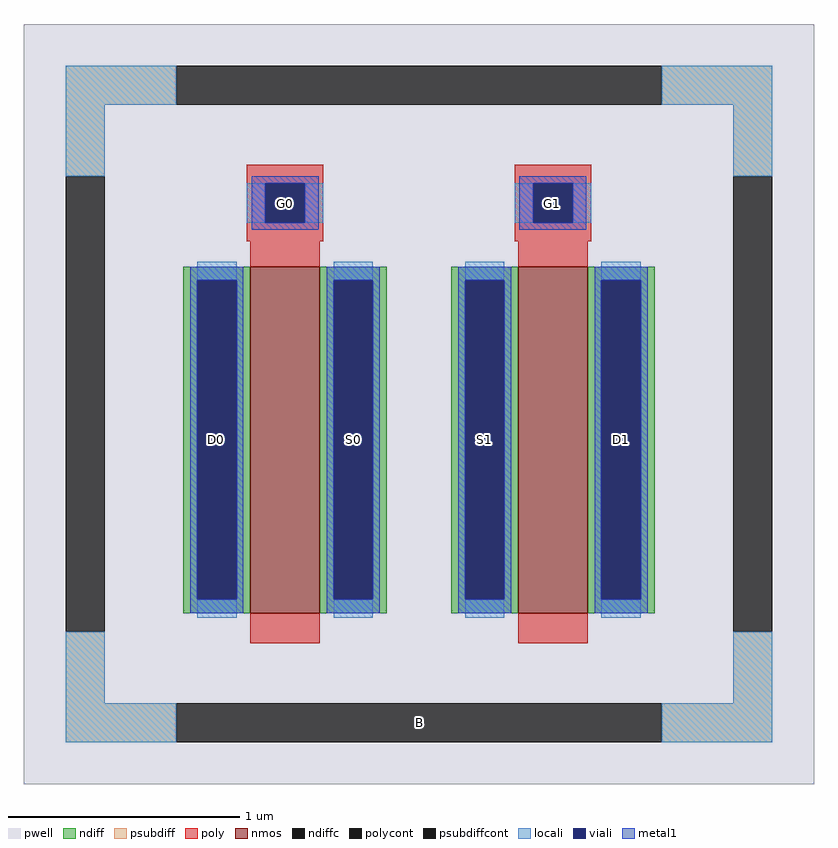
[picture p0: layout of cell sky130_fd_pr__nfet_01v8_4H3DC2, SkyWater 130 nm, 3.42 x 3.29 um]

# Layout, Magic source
magic
tech sky130A
magscale 1 2
<< pwell >>
rect -342 -329 342 329
<< nmos >>
rect -146 -181 -86 119
rect 86 -181 146 119
<< ndiff >>
rect -204 107 -146 119
rect -204 -169 -192 107
rect -158 -169 -146 107
rect -204 -181 -146 -169
rect -86 107 -28 119
rect -86 -169 -74 107
rect -40 -169 -28 107
rect -86 -181 -28 -169
rect 28 107 86 119
rect 28 -169 40 107
rect 74 -169 86 107
rect 28 -181 86 -169
rect 146 107 204 119
rect 146 -169 158 107
rect 192 -169 204 107
rect 146 -181 204 -169
<< ndiffc >>
rect -192 -169 -158 107
rect -74 -169 -40 107
rect 40 -169 74 107
rect 158 -169 192 107
<< psubdiff >>
rect -306 259 -210 293
rect 210 259 306 293
rect -306 197 -272 259
rect 272 197 306 259
rect -306 -259 -272 -197
rect 272 -259 306 -197
rect -306 -293 -210 -259
rect 210 -293 306 -259
<< psubdiffcont >>
rect -210 259 210 293
rect -306 -197 -272 197
rect 272 -197 306 197
rect -210 -293 210 -259
<< poly >>
rect -149 191 -83 207
rect -149 157 -133 191
rect -99 157 -83 191
rect -149 141 -83 157
rect 83 191 149 207
rect 83 157 99 191
rect 133 157 149 191
rect 83 141 149 157
rect -146 119 -86 141
rect 86 119 146 141
rect -146 -207 -86 -181
rect 86 -207 146 -181
<< polycont >>
rect -133 157 -99 191
rect 99 157 133 191
<< locali >>
rect -306 259 -210 293
rect 210 259 306 293
rect -306 197 -272 259
rect 272 197 306 259
rect -149 157 -133 191
rect -99 157 -83 191
rect 83 157 99 191
rect 133 157 149 191
rect -192 107 -158 123
rect -192 -185 -158 -169
rect -74 107 -40 123
rect -74 -185 -40 -169
rect 40 107 74 123
rect 40 -185 74 -169
rect 158 107 192 123
rect 158 -185 192 -169
rect -306 -259 -272 -197
rect 272 -259 306 -197
rect -306 -293 -210 -259
rect 210 -293 306 -259
<< viali >>
rect -133 157 -99 191
rect 99 157 133 191
rect -192 -169 -158 107
rect -74 -169 -40 107
rect 40 -169 74 107
rect 158 -169 192 107
<< metal1 >>
rect -145 191 -87 197
rect -145 157 -133 191
rect -99 157 -87 191
rect -145 151 -87 157
rect 87 191 145 197
rect 87 157 99 191
rect 133 157 145 191
rect 87 151 145 157
rect -198 107 -152 119
rect -198 -169 -192 107
rect -158 -169 -152 107
rect -198 -181 -152 -169
rect -80 107 -34 119
rect -80 -169 -74 107
rect -40 -169 -34 107
rect -80 -181 -34 -169
rect 34 107 80 119
rect 34 -169 40 107
rect 74 -169 80 107
rect 34 -181 80 -169
rect 152 107 198 119
rect 152 -169 158 107
rect 192 -169 198 107
rect 152 -181 198 -169
<< labels >>
rlabel psubdiffcont 0 -276 0 -276 0 B
port 1 nsew
rlabel ndiffc -175 -31 -175 -31 0 D0
port 2 nsew
rlabel ndiffc -57 -31 -57 -31 0 S0
port 3 nsew
rlabel polycont -116 174 -116 174 0 G0
port 4 nsew
rlabel ndiffc 175 -31 175 -31 0 D1
port 5 nsew
rlabel ndiffc 57 -31 57 -31 0 S1
port 6 nsew
rlabel polycont 116 174 116 174 0 G1
port 7 nsew
<< properties >>
string FIXED_BBOX -289 -276 289 276
string gencell sky130_fd_pr__nfet_01v8
string library sky130
string parameters w 1.5 l 0.3 m 1 nf 2 diffcov 100 polycov 100 guard 1 glc 1 grc 1 gtc 1 gbc 1 tbcov 100 rlcov 100 topc 1 botc 0 poverlap 0 doverlap 0 lmin 0.15 wmin 0.42 class mosfet compatible {sky130_fd_pr__nfet_01v8 sky130_fd_pr__nfet_01v8_lvt  sky130_fd_bs_flash__special_sonosfet_star  sky130_fd_pr__nfet_g5v0d10v5 sky130_fd_pr__nfet_05v0_nvt  sky130_fd_pr__nfet_03v3_nvt} full_metal 1 conn_gates 0 viasrc 100 viadrn 100 viagate 100 viagb 0 viagr 0 viagl 0 viagt 0 doports 1
<< end >>
